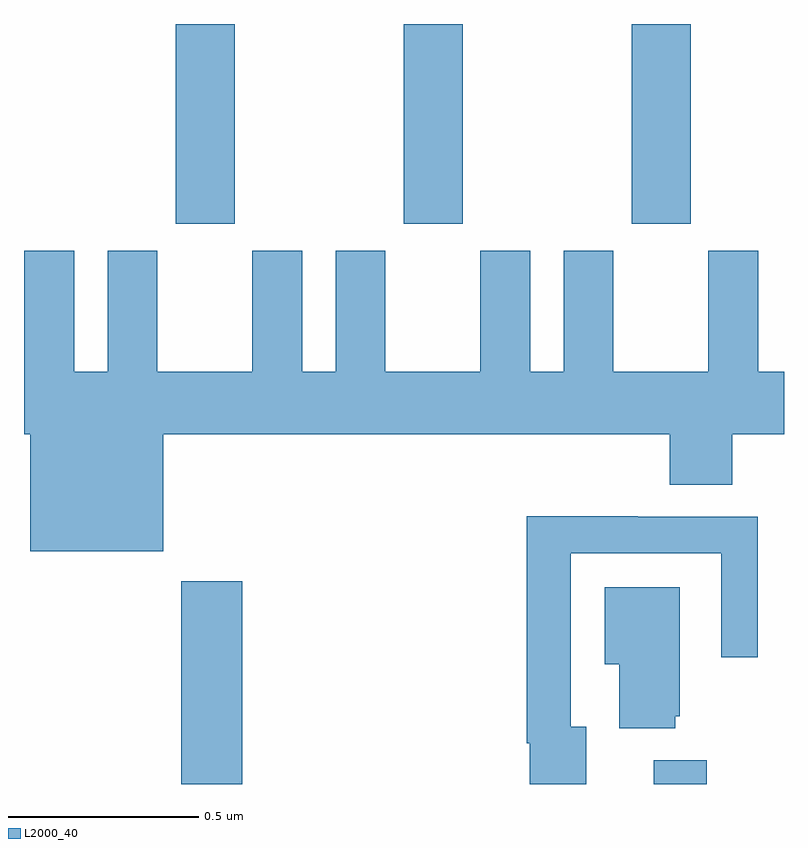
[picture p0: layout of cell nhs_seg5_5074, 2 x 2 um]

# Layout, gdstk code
import gdstk
lib = gdstk.Library(unit=1e-6, precision=1e-09)
def R(c, l, rs):  # rectangles x0, y0, x1, y1
    for r in rs: c.add(gdstk.rectangle(r[:2], r[2:], *l))
def A(c, l, x, y, w, h, nx, ny, dx, dy):  # array of equal rectangles
    R(c, l, [(x+i*dx, y+j*dy, x+i*dx+w, y+j*dy+h) for i in range(nx) for j in range(ny)])
def P(c, l, *ps):  # polygons
    for p in ps: c.add(gdstk.Polygon(p, *l))
L2000_40 = (2000, 40)

nhs_seg5_5074 = lib.new_cell('nhs_seg5_5074')
A(nhs_seg5_5074, L2000_40, 178.399, 897.273, 0.155, 0.526, 3, 1, 0.6, 0)
R(nhs_seg5_5074, L2000_40, [(178.414,895.799,178.574,896.332), (179.657,895.799,179.797,895.861)])
P(nhs_seg5_5074, L2000_40, [(178.366,896.72),(179.699,896.72),(179.699,896.587),(179.864,896.587),(179.864,896.72),(180,896.72),(180,896.884),(179.932,896.884),(179.932,897.202),(179.801,897.202),(179.801,896.884),(179.551,896.884),(179.551,897.202),(179.42,897.202),(179.42,896.884),(179.332,896.884),(179.332,897.202),(179.201,897.202),(179.201,896.884),(178.951,896.884),(178.951,897.202),(178.82,897.202),(178.82,896.884),(178.732,896.884),(178.732,897.202),(178.601,897.202),(178.601,896.884),(178.351,896.884),(178.351,897.202),(178.22,897.202),(178.22,896.884),(178.132,896.884),(178.132,897.202),(178,897.202),(178,896.72),(178.016,896.72),(178.016,896.411),(178.366,896.411)],
  [(179.479,895.95),(179.439,895.95),(179.439,896.406),(179.835,896.406),(179.835,896.133),(179.931,896.133),(179.931,896.502),(179.615,896.502),(179.615,896.504),(179.323,896.504),(179.323,895.906),(179.331,895.906),(179.331,895.799),(179.479,895.799)],
  [(179.714,895.977),(179.725,895.977),(179.725,896.317),(179.528,896.317),(179.528,896.114),(179.567,896.114),(179.567,895.946),(179.714,895.946)])

lib.write_gds('nhs_seg5_5074.gds')
